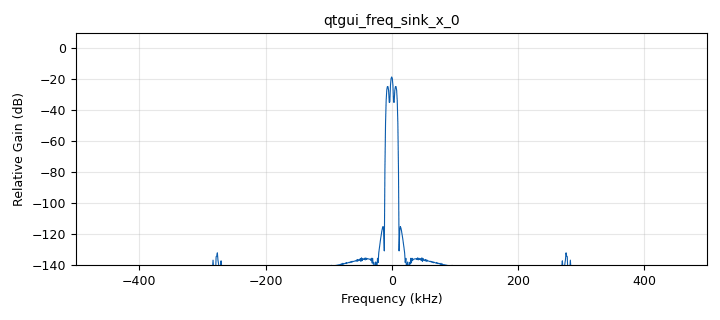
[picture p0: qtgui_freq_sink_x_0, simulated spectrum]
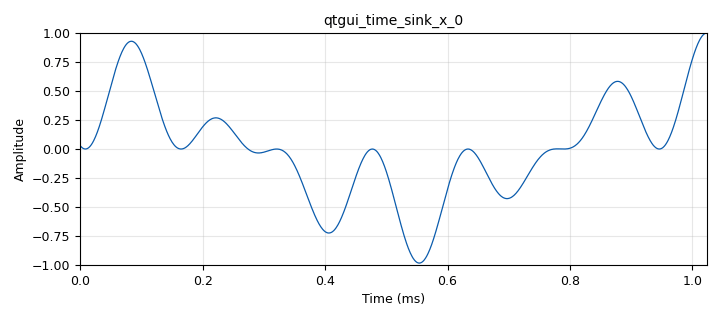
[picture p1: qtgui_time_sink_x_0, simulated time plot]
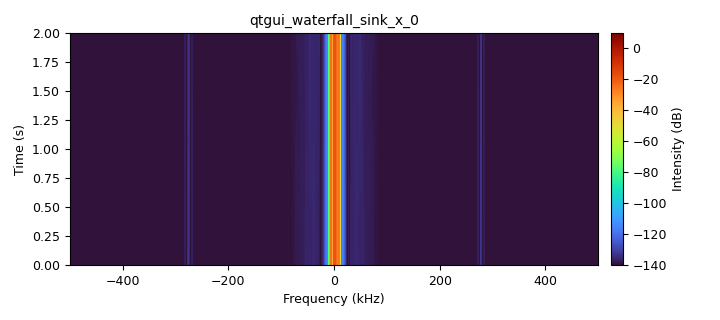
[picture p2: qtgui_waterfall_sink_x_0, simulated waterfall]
<?xml version='1.0' encoding='utf-8'?>
<?grc format='1' created='3.7.10'?>
<flow_graph>
<block>
<key>options</key>
<param><key>id</key><value>top_block</value></param>
<param><key>category</key><value>Custom</value></param>
<param><key>generate_options</key><value>qt_gui</value></param>
</block>
<block>
<key>variable_qtgui_range</key>
<param><key>id</key><value>fm_mod_sensitivity</value></param>
<param><key>value</key><value>1</value></param>
<param><key>label</key><value>fm_mod_sensitivity</value></param>
<param><key>orient</key><value>Qt.Horizontal</value></param>
<param><key>start</key><value>1</value></param>
<param><key>step</key><value>1</value></param>
<param><key>stop</key><value>100</value></param>
<param><key>rangeType</key><value>int</value></param>
</block>
<block>
<key>variable_qtgui_range</key>
<param><key>id</key><value>freq_1</value></param>
<param><key>value</key><value>1000</value></param>
<param><key>orient</key><value>Qt.Horizontal</value></param>
<param><key>start</key><value>0</value></param>
<param><key>step</key><value>1</value></param>
<param><key>stop</key><value>100000</value></param>
<param><key>rangeType</key><value>int</value></param>
</block>
<block>
<key>variable_qtgui_range</key>
<param><key>id</key><value>freq_2</value></param>
<param><key>value</key><value>3200</value></param>
<param><key>orient</key><value>Qt.Horizontal</value></param>
<param><key>start</key><value>0</value></param>
<param><key>step</key><value>1</value></param>
<param><key>stop</key><value>100000</value></param>
<param><key>rangeType</key><value>int</value></param>
</block>
<block>
<key>variable_qtgui_range</key>
<param><key>id</key><value>freq_3</value></param>
<param><key>value</key><value>3200</value></param>
<param><key>orient</key><value>Qt.Horizontal</value></param>
<param><key>start</key><value>0</value></param>
<param><key>step</key><value>1</value></param>
<param><key>stop</key><value>100000</value></param>
<param><key>rangeType</key><value>int</value></param>
</block>
<block>
<key>variable_qtgui_entry</key>
<param><key>id</key><value>samp_rate</value></param>
<param><key>value</key><value>1e6</value></param>
<param><key>label</key><value>samp_rate</value></param>
<param><key>type</key><value>real</value></param>
</block>
<block>
<key>variable_qtgui_range</key>
<param><key>id</key><value>scalar_multiplier</value></param>
<param><key>value</key><value>1</value></param>
<param><key>label</key><value>scalar_multiplier</value></param>
<param><key>orient</key><value>Qt.Horizontal</value></param>
<param><key>start</key><value>1</value></param>
<param><key>step</key><value>1</value></param>
<param><key>stop</key><value>100</value></param>
<param><key>rangeType</key><value>int</value></param>
</block>
<block>
<key>variable_qtgui_range</key>
<param><key>id</key><value>volume</value></param>
<param><key>value</key><value>0</value></param>
<param><key>orient</key><value>Qt.Horizontal</value></param>
<param><key>start</key><value>0</value></param>
<param><key>step</key><value>0.1</value></param>
<param><key>stop</key><value>10</value></param>
</block>
<block>
<key>analog_sig_source_x</key>
<param><key>id</key><value>analog_sig_source_x_0</value></param>
<param><key>amp</key><value>1</value></param>
<param><key>freq</key><value>freq_2</value></param>
<param><key>offset</key><value>0</value></param>
<param><key>type</key><value>float</value></param>
<param><key>samp_rate</key><value>samp_rate</value></param>
<param><key>waveform</key><value>analog.GR_COS_WAVE</value></param>
</block>
<block>
<key>analog_sig_source_x</key>
<param><key>id</key><value>analog_sig_source_x_1</value></param>
<param><key>amp</key><value>1</value></param>
<param><key>freq</key><value>freq_1</value></param>
<param><key>offset</key><value>0</value></param>
<param><key>type</key><value>float</value></param>
<param><key>samp_rate</key><value>samp_rate</value></param>
<param><key>waveform</key><value>analog.GR_COS_WAVE</value></param>
</block>
<block>
<key>analog_sig_source_x</key>
<param><key>id</key><value>analog_sig_source_x_1_0</value></param>
<param><key>amp</key><value>1</value></param>
<param><key>freq</key><value>freq_3</value></param>
<param><key>offset</key><value>0</value></param>
<param><key>type</key><value>float</value></param>
<param><key>samp_rate</key><value>samp_rate</value></param>
<param><key>waveform</key><value>analog.GR_COS_WAVE</value></param>
</block>
<block>
<key>audio_sink</key>
<param><key>id</key><value>audio_sink_0</value></param>
<param><key>_enabled</key><value>0</value></param>
<param><key>samp_rate</key><value>48000</value></param>
</block>
<block>
<key>blocks_complex_to_float</key>
<param><key>id</key><value>blocks_complex_to_float_0</value></param>
<param><key>_enabled</key><value>0</value></param>
</block>
<block>
<key>blocks_multiply_conjugate_cc</key>
<param><key>id</key><value>blocks_multiply_conjugate_cc_0</value></param>
<param><key>_enabled</key><value>0</value></param>
</block>
<block>
<key>blocks_multiply_const_vxx</key>
<param><key>id</key><value>blocks_multiply_const_vxx_0</value></param>
<param><key>const</key><value>scalar_multiplier</value></param>
<param><key>type</key><value>float</value></param>
</block>
<block>
<key>blocks_multiply_const_vxx</key>
<param><key>id</key><value>blocks_multiply_const_vxx_0_0</value></param>
<param><key>const</key><value>volume</value></param>
<param><key>_enabled</key><value>0</value></param>
<param><key>type</key><value>complex</value></param>
</block>
<block>
<key>blocks_multiply_xx</key>
<param><key>id</key><value>blocks_multiply_xx_0</value></param>
<param><key>type</key><value>float</value></param>
<param><key>num_inputs</key><value>3</value></param>
</block>
<block>
<key>blocks_throttle</key>
<param><key>id</key><value>blocks_throttle_0</value></param>
<param><key>samples_per_second</key><value>samp_rate</value></param>
<param><key>type</key><value>float</value></param>
</block>
<block>
<key>qtgui_const_sink_x</key>
<param><key>id</key><value>qtgui_const_sink_x_0</value></param>
<param><key>_enabled</key><value>0</value></param>
<param><key>type</key><value>msg_complex</value></param>
</block>
<block>
<key>qtgui_freq_sink_x</key>
<param><key>id</key><value>qtgui_freq_sink_x_0</value></param>
<param><key>bw</key><value>samp_rate</value></param>
<param><key>fc</key><value>0</value></param>
<param><key>fftsize</key><value>1024</value></param>
<param><key>showports</key><value>True</value></param>
<param><key>type</key><value>float</value></param>
<param><key>wintype</key><value>firdes.WIN_BLACKMAN_hARRIS</value></param>
</block>
<block>
<key>qtgui_time_sink_x</key>
<param><key>id</key><value>qtgui_time_sink_x_0</value></param>
<param><key>color1</key><value>"blue"</value></param>
<param><key>label1</key><value></value></param>
<param><key>size</key><value>1024</value></param>
<param><key>srate</key><value>samp_rate</value></param>
<param><key>type</key><value>float</value></param>
</block>
<block>
<key>qtgui_waterfall_sink_x</key>
<param><key>id</key><value>qtgui_waterfall_sink_x_0</value></param>
<param><key>bw</key><value>samp_rate</value></param>
<param><key>fc</key><value>0</value></param>
<param><key>fftsize</key><value>1024</value></param>
<param><key>showports</key><value>True</value></param>
<param><key>type</key><value>float</value></param>
<param><key>wintype</key><value>firdes.WIN_BLACKMAN_hARRIS</value></param>
</block>
<block>
<key>rational_resampler_xxx</key>
<param><key>id</key><value>rational_resampler_xxx_0</value></param>
<param><key>decim</key><value>5</value></param>
<param><key>_enabled</key><value>0</value></param>
<param><key>interp</key><value>12</value></param>
<param><key>taps</key><value></value></param>
<param><key>type</key><value>ccc</value></param>
</block>
<connection><source_block_id>analog_sig_source_x_0</source_block_id><sink_block_id>blocks_multiply_conjugate_cc_0</sink_block_id><source_key>0</source_key><sink_key>1</sink_key></connection>
<connection><source_block_id>analog_sig_source_x_0</source_block_id><sink_block_id>blocks_multiply_xx_0</sink_block_id><source_key>0</source_key><sink_key>1</sink_key></connection>
<connection><source_block_id>analog_sig_source_x_1</source_block_id><sink_block_id>blocks_multiply_conjugate_cc_0</sink_block_id><source_key>0</source_key><sink_key>0</sink_key></connection>
<connection><source_block_id>analog_sig_source_x_1</source_block_id><sink_block_id>blocks_multiply_xx_0</sink_block_id><source_key>0</source_key><sink_key>0</sink_key></connection>
<connection><source_block_id>analog_sig_source_x_1_0</source_block_id><sink_block_id>blocks_multiply_xx_0</sink_block_id><source_key>0</source_key><sink_key>2</sink_key></connection>
<connection><source_block_id>blocks_complex_to_float_0</source_block_id><sink_block_id>audio_sink_0</sink_block_id><source_key>0</source_key><sink_key>0</sink_key></connection>
<connection><source_block_id>blocks_multiply_conjugate_cc_0</source_block_id><sink_block_id>blocks_multiply_const_vxx_0</sink_block_id><source_key>0</source_key><sink_key>0</sink_key></connection>
<connection><source_block_id>blocks_multiply_const_vxx_0</source_block_id><sink_block_id>blocks_throttle_0</sink_block_id><source_key>0</source_key><sink_key>0</sink_key></connection>
<connection><source_block_id>blocks_multiply_const_vxx_0_0</source_block_id><sink_block_id>rational_resampler_xxx_0</sink_block_id><source_key>0</source_key><sink_key>0</sink_key></connection>
<connection><source_block_id>blocks_multiply_xx_0</source_block_id><sink_block_id>blocks_multiply_const_vxx_0</sink_block_id><source_key>0</source_key><sink_key>0</sink_key></connection>
<connection><source_block_id>blocks_throttle_0</source_block_id><sink_block_id>blocks_multiply_const_vxx_0_0</sink_block_id><source_key>0</source_key><sink_key>0</sink_key></connection>
<connection><source_block_id>blocks_throttle_0</source_block_id><sink_block_id>qtgui_const_sink_x_0</sink_block_id><source_key>0</source_key><sink_key>in</sink_key></connection>
<connection><source_block_id>blocks_throttle_0</source_block_id><sink_block_id>qtgui_freq_sink_x_0</sink_block_id><source_key>0</source_key><sink_key>0</sink_key></connection>
<connection><source_block_id>blocks_throttle_0</source_block_id><sink_block_id>qtgui_time_sink_x_0</sink_block_id><source_key>0</source_key><sink_key>0</sink_key></connection>
<connection><source_block_id>blocks_throttle_0</source_block_id><sink_block_id>qtgui_waterfall_sink_x_0</sink_block_id><source_key>0</source_key><sink_key>0</sink_key></connection>
<connection><source_block_id>rational_resampler_xxx_0</source_block_id><sink_block_id>blocks_complex_to_float_0</sink_block_id><source_key>0</source_key><sink_key>0</sink_key></connection>
</flow_graph>
